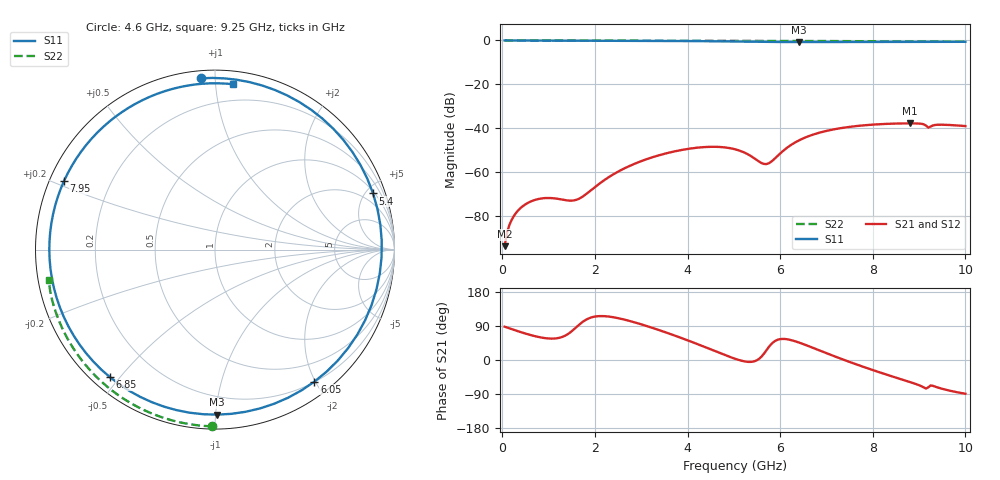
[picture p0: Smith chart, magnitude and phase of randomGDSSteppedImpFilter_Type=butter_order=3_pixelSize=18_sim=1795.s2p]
! freq	dB(S11)	phase(S11)	dB(S12)	phase(S12)
!  dB(S21)	phase(S21)	dB(S22)	phase(S22)
!S-par simulation data
#  GHz  S  DB  R 50
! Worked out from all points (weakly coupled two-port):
!   200 points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, 50 MHz to 10 GHz, reference 50 ohm
!   highest |S21| = -37.74 dB at 8.8 GHz (marker M1); lowest = -93.6 dB at 50 MHz (marker M2)
!   lowest |S11| = -0.7 dB at 6.4 GHz (marker M3), VSWR 23.86, Z = 4.24 - j50.5 ohm
!   |S11| at or under -10 dB: nowhere
!   |S22| runs from -0.6 to 0.0 dB; largest |S21 - S12| = 0
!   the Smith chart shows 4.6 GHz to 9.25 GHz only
!   S11 on the Smith chart (normalised r, x): 4.6 GHz: 0.04, +0.92; 5.4 GHz: 1.13, +5.58; 6.05 GHz: 0.21, -1.99; 6.85 GHz: 0.05, -0.47; 7.95 GHz: 0.04, +0.22; 9.25 GHz: 0.08, +1.11
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0.05  -0.00 -3.3  -93.61 87.9  -93.61 87.9  -0.00 -1.1
0.25  -0.02 -16.1  -79.87 79.6  -79.87 79.6  -0.01 -5.3
0.45  -0.04 -28.8  -75.30 71.6  -75.30 71.6  -0.01 -9.5
0.95  -0.07 -59.5  -71.70 57.3  -71.70 57.3  -0.03 -20.0
1.75  -0.12 -104.7  -70.86 101.9  -70.86 101.9  -0.05 -36.4
2.6  -0.16 -148.3  -58.60 107.7  -58.60 107.7  -0.07 -53.4
3.4  -0.21 170.9  -52.16 78.3  -52.16 78.3  -0.09 -68.8
4  -0.27 136.6  -49.38 52.0  -49.38 52.0  -0.11 -80.0
4.6  -0.37 94.8  -48.39 23.3  -48.39 23.3  -0.13 -90.8
5.05  -0.49 55.5  -49.65 2.3  -49.65 2.3  -0.15 -98.8
5.4  -0.59 19.6  -53.03 -4.6  -53.03 -4.6  -0.17 -104.9
5.7  -0.66 -13.9  -56.25 25.0  -56.25 25.0  -0.18 -110.0
6.05  -0.72 -53.0  -50.49 55.6  -50.49 55.6  -0.20 -116.0
6.4  -0.73 -89.2  -45.53 46.4  -45.53 46.4  -0.23 -121.9
6.7  -0.72 -116.8  -42.92 32.5  -42.92 32.5  -0.25 -126.9
6.85  -0.72 -129.4  -41.96 25.3  -41.96 25.3  -0.26 -129.4
7.35  -0.70 -166.6  -39.77 1.6  -39.77 1.6  -0.30 -137.8
7.95  -0.69 155.5  -38.38 -24.5  -38.38 -24.5  -0.35 -147.8
8.35  -0.68 132.4  -37.91 -40.6  -37.91 -40.6  -0.39 -154.6
8.8  -0.67 107.6  -37.74 -58.0  -37.74 -58.0  -0.44 -162.3
9.25  -0.66 83.6  -39.17 -67.1  -39.17 -67.1  -0.52 -169.8
10  -0.62 44.8  -38.96 -89.0  -38.96 -89.0  -0.59 176.5
